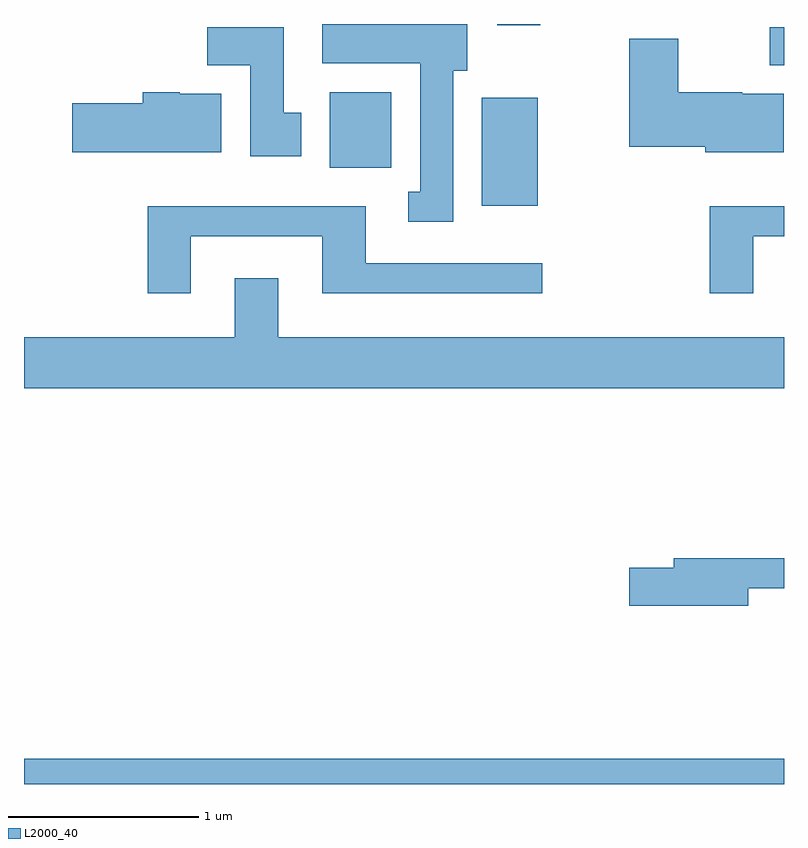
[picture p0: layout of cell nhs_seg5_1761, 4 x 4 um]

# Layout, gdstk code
import gdstk
lib = gdstk.Library(unit=1e-6, precision=1e-09)
def R(c, l, rs):  # rectangles x0, y0, x1, y1
    for r in rs: c.add(gdstk.rectangle(r[:2], r[2:], *l))
def P(c, l, *ps):  # polygons
    for p in ps: c.add(gdstk.Polygon(p, *l))
L2000_40 = (2000, 40)

nhs_seg5_1761 = lib.new_cell('nhs_seg5_1761')
R(nhs_seg5_1761, L2000_40, [(237.611,1428.072,241.611,1428.204), (240.021,1431.116,240.314,1431.684), (239.221,1431.316,239.544,1431.714), (241.536,1431.856,241.611,1432.054), (240.101,1432.066,240.329,1432.072)])
P(nhs_seg5_1761, L2000_40, [(239.869,1431.826),(239.944,1431.826),(239.944,1432.072),(239.181,1432.072),(239.181,1431.866),(239.696,1431.866),(239.696,1431.189),(239.633,1431.189),(239.633,1431.031),(239.869,1431.031)],
  [(239.069,1431.604),(238.979,1431.604),(238.979,1432.054),(238.576,1432.054),(238.576,1431.856),(238.801,1431.856),(238.801,1431.376),(239.069,1431.376)],
  [(241.609,1431.704),(241.39,1431.704),(241.39,1431.714),(241.054,1431.714),(241.054,1431.994),(240.796,1431.994),(240.796,1431.426),(241.196,1431.426),(241.196,1431.396),(241.609,1431.396)],
  [(238.649,1431.704),(238.43,1431.704),(238.43,1431.714),(238.236,1431.714),(238.236,1431.654),(237.866,1431.654),(237.866,1431.396),(238.649,1431.396)],
  [(238.489,1430.956),(239.181,1430.956),(239.181,1430.656),(240.338,1430.656),(240.338,1430.814),(239.409,1430.814),(239.409,1431.114),(238.261,1431.114),(238.261,1430.656),(238.489,1430.656)],
  [(241.449,1430.956),(241.611,1430.956),(241.611,1431.114),(241.221,1431.114),(241.221,1430.656),(241.449,1430.656)],
  [(241.611,1430.424),(238.949,1430.424),(238.949,1430.734),(238.721,1430.734),(238.721,1430.424),(237.611,1430.424),(237.611,1430.156),(241.611,1430.156)],
  [(241.424,1429.101),(241.611,1429.101),(241.611,1429.259),(241.031,1429.259),(241.031,1429.209),(240.796,1429.209),(240.796,1429.011),(241.424,1429.011)])

lib.write_gds('nhs_seg5_1761.gds')
